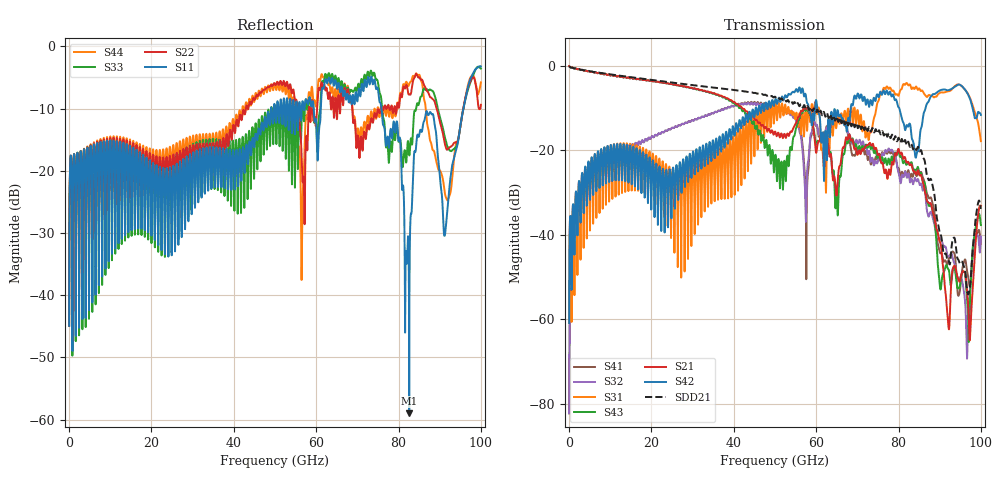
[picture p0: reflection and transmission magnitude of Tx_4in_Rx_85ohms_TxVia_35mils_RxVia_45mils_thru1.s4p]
! Info: Touchstone file created by Circ.  Input file=Tx_4in_Rx_85ohms_TxVia_35mils_RxVia_45mils.circ
# Hz S RI R 50
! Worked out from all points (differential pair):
!   10000 points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, 10 MHz to 100 GHz, reference 50 ohm
!   strongest paths, dB at 10 MHz, 25.01 GHz, 50.01 GHz, 75.01 GHz, 100 GHz:
!     S42: -60.9, -28.3, -8.1, -7.1, -11.6
!     S21: 0.0, -4.3, -15.5, -21.1, -33.1
!     S43: 0.0, -4.3, -21.5, -21.5, -37.7
!     S31: -60.9, -25.9, -9.5, -8.5, -17.8
!     S32: -82.3, -14.6, -10.3, -22.5, -40.3
!     S41: -82.3, -14.6, -9.9, -21.7, -42.1
!   taken as a pair (ports 1,3 in; 2,4 out), SDD21 dB: 0.0, -3.9, -7.3, -15.8, -33.9
!   lowest |S11| = -59.0 dB at 82.59 GHz (marker M1), VSWR 1.00, Z = 50 - j0.112 ohm
!   |S11| at or under -10 dB: start of sweep to 49 GHz; 59.39 GHz to 61.13 GHz (1.743 GHz wide, 2.89 % of centre); 75.86 GHz to 95.76 GHz (19.9 GHz wide, 23.2 % of centre)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
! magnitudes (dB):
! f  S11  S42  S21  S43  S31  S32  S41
! 10 MHz  -44.9  -60.9  0.0  0.0  -60.9  -82.3  -82.3
! 2.36 GHz  -28.5  -27.6  -0.8  -0.8  -27.7  -32.7  -32.7
! 11.83 GHz  -18.9  -19.7  -2.4  -2.4  -19.8  -21.4  -21.4
! 73.71 GHz  -6.0  -8.9  -18.4  -19.1  -14.1  -22.0  -22.2
! 82.59 GHz  -59.0  -13.7  -23.3  -23.3  -4.5  -26.3  -25.8
! 92.06 GHz  -24.7  -5.7  -61.1  -48.1  -6.0  -45.1  -46.3
! 100 GHz  -3.2  -11.6  -33.1  -37.7  -17.8  -40.3  -42.1
